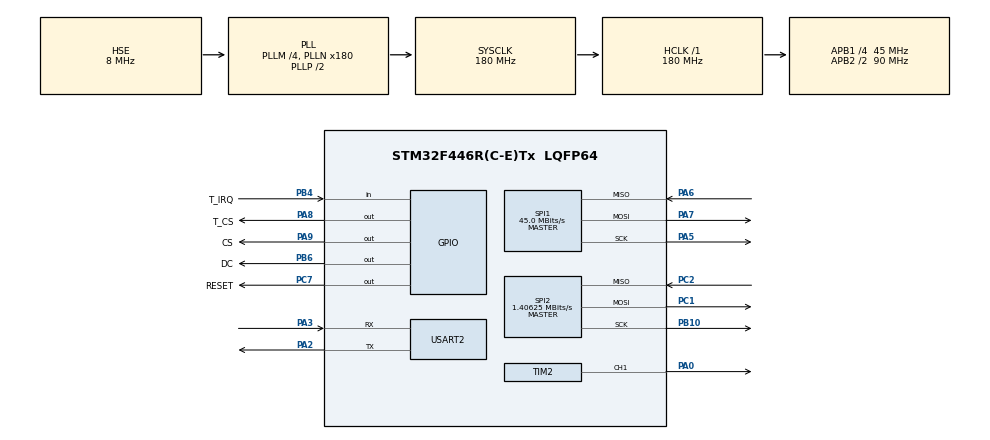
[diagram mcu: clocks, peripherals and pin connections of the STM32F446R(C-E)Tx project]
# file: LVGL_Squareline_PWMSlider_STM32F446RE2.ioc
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Dma.Request0=SPI1_TX
Dma.SPI1_TX.0.Direction=DMA_MEMORY_TO_PERIPH
Dma.SPI1_TX.0.FIFOMode=DMA_FIFOMODE_DISABLE
Dma.SPI1_TX.0.Instance=DMA2_Stream3
Dma.SPI1_TX.0.MemDataAlignment=DMA_MDATAALIGN_BYTE
Dma.SPI1_TX.0.MemInc=DMA_MINC_ENABLE
Dma.SPI1_TX.0.Mode=DMA_NORMAL
Dma.SPI1_TX.0.PeriphDataAlignment=DMA_PDATAALIGN_BYTE
Dma.SPI1_TX.0.PeriphInc=DMA_PINC_DISABLE
Dma.SPI1_TX.0.Priority=DMA_PRIORITY_LOW
Mcu.Family=STM32F4
Mcu.Name=STM32F446R(C-E)Tx
Mcu.Package=LQFP64
NVIC.DMA2_Stream3_IRQn=true\:5\:0\:false\:false\:true\:false\:true\:true
NVIC.PriorityGroup=NVIC_PRIORITYGROUP_4
NVIC.SPI1_IRQn=true\:5\:0\:false\:false\:true\:true\:true\:true
NVIC.SPI2_IRQn=true\:5\:0\:false\:false\:true\:true\:true\:true
NVIC.TIM2_IRQn=true\:0\:0\:false\:false\:true\:true\:true\:true
NVIC.USART2_IRQn=true\:0\:0\:false\:false\:true\:true\:true\:true
PA0-WKUP.Signal=S_TIM2_CH1_ETR
PA13.Mode=Serial_Wire
PA13.Signal=SYS_JTMS-SWDIO
PA14.Mode=Serial_Wire
PA14.Signal=SYS_JTCK-SWCLK
PA2.Mode=Asynchronous
PA2.Signal=USART2_TX
PA3.Mode=Asynchronous
PA3.Signal=USART2_RX
PA5.Mode=Full_Duplex_Master
PA5.Signal=SPI1_SCK
PA6.Mode=Full_Duplex_Master
PA6.Signal=SPI1_MISO
PA7.Mode=Full_Duplex_Master
PA7.Signal=SPI1_MOSI
PA8.GPIO_Label=T_CS
PA8.PinState=GPIO_PIN_SET
PA8.Signal=GPIO_Output
PA9.GPIO_Label=CS
PA9.PinState=GPIO_PIN_SET
PA9.Signal=GPIO_Output
PB10.Mode=Full_Duplex_Master
PB10.Signal=SPI2_SCK
PB4.GPIO_Label=T_IRQ
PB4.GPIO_PuPd=GPIO_PULLUP
PB4.Signal=GPIO_Input
PB6.GPIO_Label=DC
PB6.Signal=GPIO_Output
PC1.Mode=Full_Duplex_Master
PC1.Signal=SPI2_MOSI
PC2.Mode=Full_Duplex_Master
PC2.Signal=SPI2_MISO
PC7.GPIO_Label=RESET
PC7.Signal=GPIO_Output
PH0-OSC_IN.Mode=HSE-External-Oscillator
PH0-OSC_IN.Signal=RCC_OSC_IN
PH1-OSC_OUT.Mode=HSE-External-Oscillator
PH1-OSC_OUT.Signal=RCC_OSC_OUT
ProjectManager.HeapSize=0x200
ProjectManager.StackSize=0x400
ProjectManager.TargetToolchain=STM32CubeIDE
RCC.AHBFreq_Value=180000000
RCC.APB1CLKDivider=RCC_HCLK_DIV4
RCC.APB1Freq_Value=45000000
RCC.APB1TimFreq_Value=90000000
RCC.APB2CLKDivider=RCC_HCLK_DIV2
RCC.APB2Freq_Value=90000000
RCC.APB2TimFreq_Value=180000000
RCC.CortexFreq_Value=180000000
RCC.HCLKFreq_Value=180000000
RCC.HSE_VALUE=8000000
RCC.PLLM=4
RCC.PLLN=180
RCC.PLLSourceVirtual=RCC_PLLSOURCE_HSE
RCC.SYSCLKFreq_VALUE=180000000
RCC.SYSCLKSource=RCC_SYSCLKSOURCE_PLLCLK
RCC.USBFreq_Value=180000000
RCC.VCOOutputFreq_Value=360000000
SH.S_TIM2_CH1_ETR.0=TIM2_CH1,PWM Generation1 CH1
SPI1.CalculateBaudRate=45.0 MBits/s
SPI1.Direction=SPI_DIRECTION_2LINES
SPI1.Mode=SPI_MODE_MASTER
SPI1.VirtualType=VM_MASTER
SPI2.BaudRatePrescaler=SPI_BAUDRATEPRESCALER_32
SPI2.CalculateBaudRate=1.40625 MBits/s
SPI2.Direction=SPI_DIRECTION_2LINES
SPI2.Mode=SPI_MODE_MASTER
SPI2.VirtualType=VM_MASTER
TIM2.Channel-PWM\ Generation1\ CH1=TIM_CHANNEL_1
TIM2.Period=100-1
TIM2.Prescaler=90-1
USART2.VirtualMode=VM_ASYNC
board=custom

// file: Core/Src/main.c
/* USER CODE BEGIN Header */
/**
  ******************************************************************************
  * @file           : main.c
  * @brief          : Main program body
  ******************************************************************************
  * @attention
  *
  * Copyright (c) 2025 STMicroelectronics.
  * All rights reserved.
  *
  * This software is licensed under terms that can be found in the LICENSE file
  * in the root directory of this software component.
  * If no LICENSE file comes with this software, it is provided AS-IS.
  *
  ******************************************************************************
  */
/* USER CODE END Header */
#include "main.h"

/* USER CODE BEGIN Includes */
#include "ILI9341.h"
#include "lvgl.h"
#include "LCDController.h"
#include "TouchController.h"
#include "ui.h"

/* USER CODE END Includes */

SPI_HandleTypeDef hspi1;
SPI_HandleTypeDef hspi2;
DMA_HandleTypeDef hdma_spi1_tx;

TIM_HandleTypeDef htim2;

UART_HandleTypeDef huart2;

void SystemClock_Config(void);
static void MX_GPIO_Init(void);
static void MX_DMA_Init(void);
static void MX_SPI1_Init(void);
static void MX_SPI2_Init(void);
static void MX_USART2_UART_Init(void);
static void MX_TIM2_Init(void);

/* USER CODE BEGIN 0 */
void btn_event_cb(lv_event_t *e) {
    lv_obj_t *label = lv_event_get_user_data(e);
    lv_label_set_text(label, "Touched!");
}

/* USER CODE END 0 */

int main(void)
{

  /* MCU Configuration--------------------------------------------------------*/

  /* Reset of all peripherals, Initializes the Flash interface and the Systick. */
  HAL_Init();

  /* Configure the system clock */
  SystemClock_Config();

  /* Initialize all configured peripherals */
  MX_GPIO_Init();
  MX_DMA_Init();
  MX_SPI1_Init();
  MX_SPI2_Init();
  MX_USART2_UART_Init();
  MX_TIM2_Init();
  /* USER CODE BEGIN 2 */
//  ILI9341_Init();
//  ILI9341_FillScreen(0xF800);

  lv_init();

  lv_port_disp_init();

  TouchController_Init();

  /* Optional: call touch_calibrate() to calibrate this panel in RAM. */

  /* Change Active Screen's background color */
  lv_obj_set_style_bg_color(lv_screen_active(), lv_color_hex(0x003a57), LV_PART_MAIN);
  lv_obj_set_style_text_color(lv_screen_active(), lv_color_hex(0xffffff), LV_PART_MAIN);
//
  /* Create a spinner */
//  lv_obj_t * spinner = lv_spinner_create(lv_screen_active());
//  lv_obj_set_size(spinner, 64, 64);
//  lv_obj_align(spinner, LV_ALIGN_BOTTOM_MID, 0, 0);
//  lv_obj_set_style_opa(spinner, LV_OPA_COVER, LV_PART_MAIN);
//  lv_obj_set_style_radius(spinner, LV_RADIUS_CIRCLE, LV_PART_MAIN);

//  lv_obj_t *bar = lv_bar_create(lv_screen_active());
//  lv_obj_set_size(bar, 200, 20);
//  lv_obj_center(bar);
//  lv_bar_set_value(bar, 70, LV_ANIM_ON);

//  lv_obj_t *cal = lv_calendar_create(lv_screen_active());
//  lv_obj_set_size(cal, 200, 150);
//  lv_obj_center(cal);
//

//  lv_obj_t *label = lv_label_create(lv_screen_active());
//  lv_label_set_text(label, "Touch the screen");
//  lv_obj_align(label, LV_ALIGN_TOP_MID, 0, 10);
//
//  lv_obj_t *btn = lv_btn_create(lv_screen_active());
//  lv_obj_align(btn, LV_ALIGN_CENTER, 0, 0);
//  lv_obj_set_size(btn, 120, 50);
//
//  lv_obj_t *btn_label = lv_label_create(btn);
//  lv_label_set_text(btn_label, "Touch Me");
//
//  lv_obj_add_event_cb(btn, btn_event_cb, LV_EVENT_PRESSED, label);

  /* Create a chart object */
//  lv_obj_t *chart = lv_chart_create(lv_screen_active());
//  lv_obj_set_size(chart, 220, 140);
//  lv_obj_center(chart);
//  lv_chart_set_type(chart, LV_CHART_TYPE_LINE);     // Line chart
//  lv_chart_set_point_count(chart, 10);              // 10 points
//  lv_chart_set_range(chart, LV_CHART_AXIS_PRIMARY_Y, 0, 100);

  /* Add a data series */
//  lv_chart_series_t *ser = lv_chart_add_series(chart, lv_palette_main(LV_PALETTE_RED), LV_CHART_AXIS_PRIMARY_Y);

  /* Fill in some data points */
//  lv_chart_set_next_value(chart, ser, 10);
//  lv_chart_set_next_value(chart, ser, 30);
//  lv_chart_set_next_value(chart, ser, 55);
//  lv_chart_set_next_value(chart, ser, 60);
//  lv_chart_set_next_value(chart, ser, 20);
//  lv_chart_set_next_value(chart, ser, 80);
//  lv_chart_set_next_value(chart, ser, 65);
//  lv_chart_set_next_value(chart, ser, 30);
//  lv_chart_set_next_value(chart, ser, 50);
//  lv_chart_set_next_value(chart, ser, 75);
//  lv_chart_set_next_value(chart, ser, 100);

  ui_init();

  if (HAL_TIM_PWM_Start(&htim2, TIM_CHANNEL_1) != HAL_OK) Error_Handler();

  /* USER CODE END 2 */

  /* Infinite loop */
  while (1)
  {

    /* USER CODE BEGIN 3 */
	    lv_timer_handler();
	    HAL_Delay(5);
  }
  /* USER CODE END 3 */
}

void SystemClock_Config(void)
{
  RCC_OscInitTypeDef RCC_OscInitStruct = {0};
  RCC_ClkInitTypeDef RCC_ClkInitStruct = {0};

  /** Configure the main internal regulator output voltage
  */
  __HAL_RCC_PWR_CLK_ENABLE();
  __HAL_PWR_VOLTAGESCALING_CONFIG(PWR_REGULATOR_VOLTAGE_SCALE1);

  /** Initializes the RCC Oscillators according to the specified parameters
  * in the RCC_OscInitTypeDef structure.
  */
  RCC_OscInitStruct.OscillatorType = RCC_OSCILLATORTYPE_HSE;
  RCC_OscInitStruct.HSEState = RCC_HSE_ON;
  RCC_OscInitStruct.PLL.PLLState = RCC_PLL_ON;
  RCC_OscInitStruct.PLL.PLLSource = RCC_PLLSOURCE_HSE;
  RCC_OscInitStruct.PLL.PLLM = 4;
  RCC_OscInitStruct.PLL.PLLN = 180;
  RCC_OscInitStruct.PLL.PLLP = RCC_PLLP_DIV2;
  RCC_OscInitStruct.PLL.PLLQ = 2;
  RCC_OscInitStruct.PLL.PLLR = 2;
  if (HAL_RCC_OscConfig(&RCC_OscInitStruct) != HAL_OK)
  {
    Error_Handler();
  }

  /** Activate the Over-Drive mode
  */
  if (HAL_PWREx_EnableOverDrive() != HAL_OK)
  {
    Error_Handler();
  }

  /** Initializes the CPU, AHB and APB buses clocks
  */
  RCC_ClkInitStruct.ClockType = RCC_CLOCKTYPE_HCLK|RCC_CLOCKTYPE_SYSCLK
                              |RCC_CLOCKTYPE_PCLK1|RCC_CLOCKTYPE_PCLK2;
  RCC_ClkInitStruct.SYSCLKSource = RCC_SYSCLKSOURCE_PLLCLK;
  RCC_ClkInitStruct.AHBCLKDivider = RCC_SYSCLK_DIV1;
  RCC_ClkInitStruct.APB1CLKDivider = RCC_HCLK_DIV4;
  RCC_ClkInitStruct.APB2CLKDivider = RCC_HCLK_DIV2;

  if (HAL_RCC_ClockConfig(&RCC_ClkInitStruct, FLASH_LATENCY_5) != HAL_OK)
  {
    Error_Handler();
  }
}

static void MX_SPI1_Init(void)
{

  /* SPI1 parameter configuration*/
  hspi1.Instance = SPI1;
  hspi1.Init.Mode = SPI_MODE_MASTER;
  hspi1.Init.Direction = SPI_DIRECTION_2LINES;
  hspi1.Init.DataSize = SPI_DATASIZE_8BIT;
  hspi1.Init.CLKPolarity = SPI_POLARITY_LOW;
  hspi1.Init.CLKPhase = SPI_PHASE_1EDGE;
  hspi1.Init.NSS = SPI_NSS_SOFT;
  hspi1.Init.BaudRatePrescaler = SPI_BAUDRATEPRESCALER_2;
  hspi1.Init.FirstBit = SPI_FIRSTBIT_MSB;
  hspi1.Init.TIMode = SPI_TIMODE_DISABLE;
  hspi1.Init.CRCCalculation = SPI_CRCCALCULATION_DISABLE;
  hspi1.Init.CRCPolynomial = 10;
  if (HAL_SPI_Init(&hspi1) != HAL_OK)
  {
    Error_Handler();
  }

}

static void MX_SPI2_Init(void)
{

  /* SPI2 parameter configuration*/
  hspi2.Instance = SPI2;
  hspi2.Init.Mode = SPI_MODE_MASTER;
  hspi2.Init.Direction = SPI_DIRECTION_2LINES;
  hspi2.Init.DataSize = SPI_DATASIZE_8BIT;
  hspi2.Init.CLKPolarity = SPI_POLARITY_LOW;
  hspi2.Init.CLKPhase = SPI_PHASE_1EDGE;
  hspi2.Init.NSS = SPI_NSS_SOFT;
  hspi2.Init.BaudRatePrescaler = SPI_BAUDRATEPRESCALER_32;
  hspi2.Init.FirstBit = SPI_FIRSTBIT_MSB;
  hspi2.Init.TIMode = SPI_TIMODE_DISABLE;
  hspi2.Init.CRCCalculation = SPI_CRCCALCULATION_DISABLE;
  hspi2.Init.CRCPolynomial = 10;
  if (HAL_SPI_Init(&hspi2) != HAL_OK)
  {
    Error_Handler();
  }

}

static void MX_TIM2_Init(void)
{

  TIM_MasterConfigTypeDef sMasterConfig = {0};
  TIM_OC_InitTypeDef sConfigOC = {0};

  htim2.Instance = TIM2;
  htim2.Init.Prescaler = 90-1;
  htim2.Init.CounterMode = TIM_COUNTERMODE_UP;
  htim2.Init.Period = 100-1;
  htim2.Init.ClockDivision = TIM_CLOCKDIVISION_DIV1;
  htim2.Init.AutoReloadPreload = TIM_AUTORELOAD_PRELOAD_DISABLE;
  if (HAL_TIM_PWM_Init(&htim2) != HAL_OK)
  {
    Error_Handler();
  }
  sMasterConfig.MasterOutputTrigger = TIM_TRGO_RESET;
  sMasterConfig.MasterSlaveMode = TIM_MASTERSLAVEMODE_DISABLE;
  if (HAL_TIMEx_MasterConfigSynchronization(&htim2, &sMasterConfig) != HAL_OK)
  {
    Error_Handler();
  }
  sConfigOC.OCMode = TIM_OCMODE_PWM1;
  sConfigOC.Pulse = 0;
  sConfigOC.OCPolarity = TIM_OCPOLARITY_HIGH;
  sConfigOC.OCFastMode = TIM_OCFAST_DISABLE;
  if (HAL_TIM_PWM_ConfigChannel(&htim2, &sConfigOC, TIM_CHANNEL_1) != HAL_OK)
  {
    Error_Handler();
  }
  HAL_TIM_MspPostInit(&htim2);

}

static void MX_USART2_UART_Init(void)
{

  huart2.Instance = USART2;
  huart2.Init.BaudRate = 115200;
  huart2.Init.WordLength = UART_WORDLENGTH_8B;
  huart2.Init.StopBits = UART_STOPBITS_1;
  huart2.Init.Parity = UART_PARITY_NONE;
  huart2.Init.Mode = UART_MODE_TX_RX;
  huart2.Init.HwFlowCtl = UART_HWCONTROL_NONE;
  huart2.Init.OverSampling = UART_OVERSAMPLING_16;
  if (HAL_UART_Init(&huart2) != HAL_OK)
  {
    Error_Handler();
  }

}

static void MX_DMA_Init(void)
{

  /* DMA controller clock enable */
  __HAL_RCC_DMA2_CLK_ENABLE();

  /* DMA interrupt init */
  /* DMA2_Stream3_IRQn interrupt configuration */
  HAL_NVIC_SetPriority(DMA2_Stream3_IRQn, 5, 0);
  HAL_NVIC_EnableIRQ(DMA2_Stream3_IRQn);

}

static void MX_GPIO_Init(void)
{
  GPIO_InitTypeDef GPIO_InitStruct = {0};

  /* GPIO Ports Clock Enable */
  __HAL_RCC_GPIOH_CLK_ENABLE();
  __HAL_RCC_GPIOC_CLK_ENABLE();
  __HAL_RCC_GPIOA_CLK_ENABLE();
  __HAL_RCC_GPIOB_CLK_ENABLE();

  /*Configure GPIO pin Output Level */
  HAL_GPIO_WritePin(RESET_GPIO_Port, RESET_Pin, GPIO_PIN_RESET);

  /*Configure GPIO pin Output Level */
  HAL_GPIO_WritePin(GPIOA, T_CS_Pin|CS_Pin, GPIO_PIN_SET);

  /*Configure GPIO pin Output Level */
  HAL_GPIO_WritePin(DC_GPIO_Port, DC_Pin, GPIO_PIN_RESET);

  /*Configure GPIO pin : RESET_Pin */
  GPIO_InitStruct.Pin = RESET_Pin;
  GPIO_InitStruct.Mode = GPIO_MODE_OUTPUT_PP;
  GPIO_InitStruct.Pull = GPIO_NOPULL;
  GPIO_InitStruct.Speed = GPIO_SPEED_FREQ_LOW;
  HAL_GPIO_Init(RESET_GPIO_Port, &GPIO_InitStruct);

  /*Configure GPIO pins : T_CS_Pin CS_Pin */
  GPIO_InitStruct.Pin = T_CS_Pin|CS_Pin;
  GPIO_InitStruct.Mode = GPIO_MODE_OUTPUT_PP;
  GPIO_InitStruct.Pull = GPIO_NOPULL;
  GPIO_InitStruct.Speed = GPIO_SPEED_FREQ_LOW;
  HAL_GPIO_Init(GPIOA, &GPIO_InitStruct);

  /*Configure GPIO pin : T_IRQ_Pin */
  GPIO_InitStruct.Pin = T_IRQ_Pin;
  GPIO_InitStruct.Mode = GPIO_MODE_INPUT;
  GPIO_InitStruct.Pull = GPIO_PULLUP;
  HAL_GPIO_Init(T_IRQ_GPIO_Port, &GPIO_InitStruct);

  /*Configure GPIO pin : DC_Pin */
  GPIO_InitStruct.Pin = DC_Pin;
  GPIO_InitStruct.Mode = GPIO_MODE_OUTPUT_PP;
  GPIO_InitStruct.Pull = GPIO_NOPULL;
  GPIO_InitStruct.Speed = GPIO_SPEED_FREQ_LOW;
  HAL_GPIO_Init(DC_GPIO_Port, &GPIO_InitStruct);

  /* EXTI interrupt init*/
  /* Touch uses pressure polling; no PENIRQ interrupt is needed. */

}

void Error_Handler(void)
{
  __disable_irq();
  while (1)
  {
  }
}
